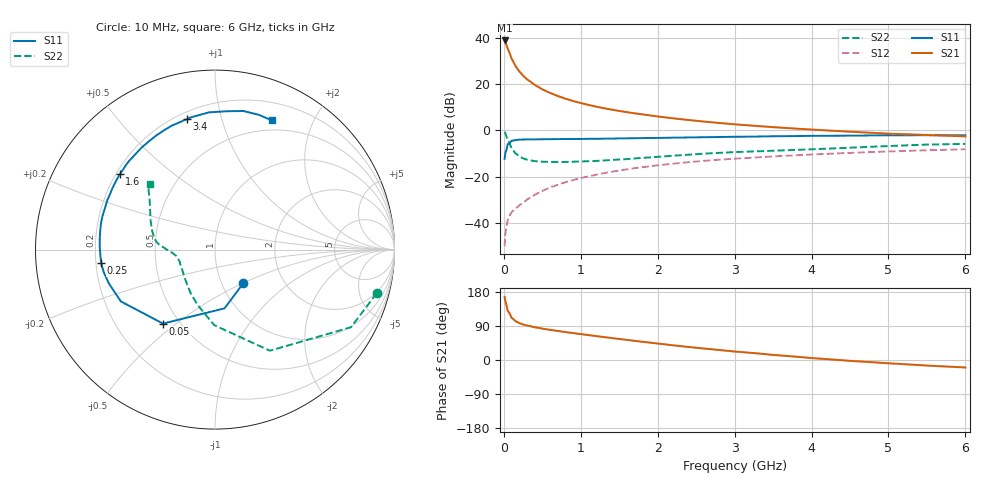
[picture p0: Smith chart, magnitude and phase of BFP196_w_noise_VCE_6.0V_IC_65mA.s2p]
! Infineon Technologies  Discrete & RF Semiconductors
! BFP196
! VCE =  6.0 V,  IC =  65 mA
! Common Emitter S-Parameters:  Jan 2017
# GHz  S  MA  R  50
!  f  S11  S21  S12  S22
! GHz  MAG  ANG  MAG  ANG  MAG  ANG  MAG  ANG
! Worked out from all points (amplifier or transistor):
!   77 points, 10 MHz to 6 GHz, reference 50 ohm
!   highest |S21| = 38.8 dB at 10 MHz (marker M1)
!   |S21| within 3 dB of that: start of sweep to 44.65 MHz
!   unconditionally stable (mu >= 1): 487 MHz to 2.41 GHz
!   at 130 MHz: K = 0.67, MSG = 31.8 dB, |S12| = -34.4 dB
!   at 2.2 GHz: K = 1.01, MAG = 9.2 dB, |S12| = -14.3 dB
!   at 6 GHz: K = 0.95, MSG = 2.8 dB, |S12| = -8.1 dB
!   lowest NFmin = 1.62 dB at 450 MHz
!   S11 on the Smith chart (normalised r, x): 10 MHz: 1.27, -0.50; 50 MHz: 0.41, -0.45; 250 MHz: 0.22, -0.06; 1.6 GHz: 0.22, +0.33; 3.4 GHz: 0.24, +0.78; 6 GHz: 0.39, +1.46
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0.01  0.2444 -49.6  87.16 166.5  0.0032 78.5  0.9332 -15.1
0.02  0.3316 -80.8  81.88 154.7  0.0058 74.7  0.8725 -29.7
0.05  0.5039 -125.1  58.41 129.7  0.0116 58.8  0.6411 -61.5
0.1  0.5989 -151.2  35.46 111.2  0.0172 56.9  0.4209 -90.6
0.15  0.621 -162.4  24.7 102.7  0.0204 55.8  0.3231 -107.5
0.2  0.6327 -168.6  18.86 97.5  0.0241 61.1  0.2773 -119.4
0.25  0.6385 -173.2  15.19 93.7  0.0278 61.7  0.2502 -128.0
0.3  0.6393 -176.6  12.71 91.0  0.0321 65.0  0.2344 -135.2
0.4  0.6428 178.1  9.619 86.4  0.0408 67.5  0.2186 -144.9
0.5  0.6456 174.0  7.708 82.8  0.0496 67.9  0.2118 -151.5
0.6  0.6482 170.5  6.458 79.5  0.0587 67.7  0.2106 -156.6
0.7  0.6516 167.3  5.537 76.7  0.0673 68.4  0.2079 -160.5
0.9  0.6545 161.2  4.312 71.0  0.0849 66.6  0.212 -165.5
1.1  0.6603 155.3  3.556 65.8  0.1025 65.1  0.2173 -169.5
1.3  0.6653 149.7  3.02 60.6  0.12 62.5  0.2252 -172.4
1.6  0.6764 141.7  2.48 53.0  0.1452 58.9  0.2415 -176.2
2.1  0.6942 128.6  1.913 41.2  0.1844 51.9  0.2776 178.7
3.1  0.7331 107.5  1.318 20.8  0.2516 38.3  0.346 168.5
3.4  0.744 102.1  1.211 15.4  0.2691 34.7  0.3605 164.6
4.1  0.766 91.0  1.023 3.7  0.3078 26.1  0.3986 154.3
5.1  0.7876 77.2  0.842 -9.8  0.3565 14.4  0.468 141.4
6  0.7864 66.3  0.744 -19.8  0.3938 4.3  0.5132 134.6
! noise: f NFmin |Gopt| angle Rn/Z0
0.45  1.62  0.43  -173  0.06
0.9  1.78  0.49  -160  0.08
1.9  2.59  0.69  -131  0.35
2.4  3  0.7  -118  0.75
